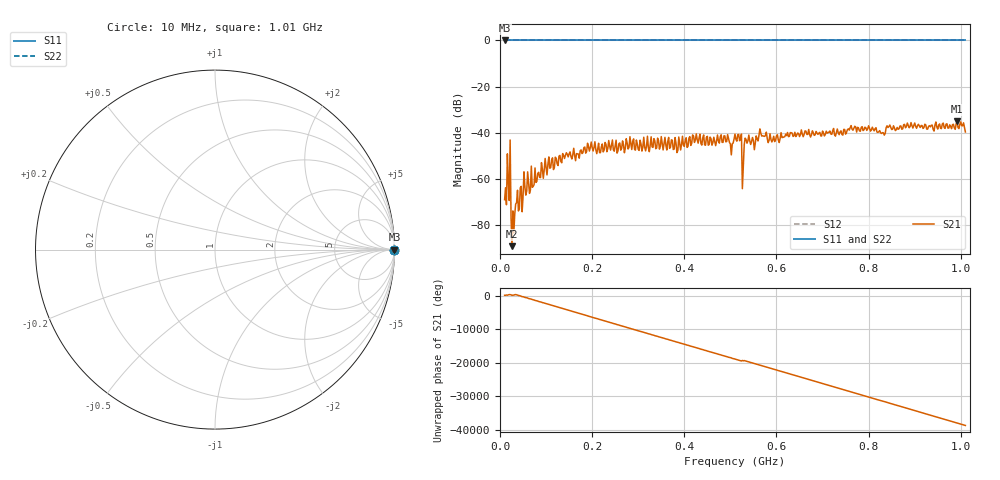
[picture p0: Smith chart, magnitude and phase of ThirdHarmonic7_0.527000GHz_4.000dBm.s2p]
! 8/17/2025 3:37:31 PM
! C:\ANRITSUVNA\TEMP\TEMP.S2P
! CHANNEL.1
! TR.MEASUREMENT
! RAW.DATA
! RF.CORRECTION.OFF
! AVERAGING.OFF
! IF.BANDWIDTH: 5KHZ
! SWEEPTYPE:  FREQ.SWEEP(Linear)
! Reference Plane Port Info
! PORT:  PORT1  PORT2
! DISTANCE:  0  m  0  m
! TIME:  0  s  0  s
! PHASE.OFFSET:  0  deg.  0  deg.
! LOSS:  0  dB  0  dB
! REF.LOSS:  0  dB  0  dB
! REF.FREQ:  0  Hz  0  Hz
! Power Info
! POWER:  -20  dBm  -20  dBm
! EFF.POWER:  -20  dBm  -20  dBm
! SOURCE.ATTEN:  0  dB  0  dB
! TEST.ATTEN:  0  dB  0  dB
# GHZ S RI R 50.0
! FREQ.GHZ  S11RE  S11IM  S21RE  S21IM  S12RE  S12IM  S22RE  S22IM
!; PortSelection: Port_12
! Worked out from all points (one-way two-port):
!   501 points, 10 MHz to 1.01 GHz, reference 50 ohm
!   highest |S21| = -35.04 dB at 992 MHz (marker M1); lowest = -89.1 dB at 26 MHz (marker M2)
!   lowest |S11| = 0.0 dB at 10 MHz (marker M3)
!   |S11| at or under -10 dB: nowhere
!   |S22| runs from 0.0 to 0.0 dB; largest |S21 - S12| = 1
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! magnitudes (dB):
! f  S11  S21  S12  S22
! 10 MHz  0.0  -68.9  0.0  0.0
! 18 MHz  0.0  -61.0  0.0  0.0
! 26 MHz  0.0  -89.1  0.0  0.0
! 28 MHz  0.0  -73.8  0.0  0.0
! 56 MHz  0.0  -67.0  0.0  0.0
! 68 MHz  0.0  -54.4  0.0  0.0
! 110 MHz  0.0  -55.1  0.0  0.0
! 178 MHz  0.0  -49.0  0.0  0.0
! 344 MHz  0.0  -43.3  0.0  0.0
! 490 MHz  0.0  -43.9  0.0  0.0
! 502 MHz  0.0  -49.5  0.0  0.0
! 510 MHz  0.0  -40.5  0.0  0.0
! 520 MHz  0.0  -43.4  0.0  0.0
! 524 MHz  0.0  -40.5  0.0  0.0
! 530 MHz  0.0  -45.2  0.0  0.0
! 536 MHz  0.0  -44.5  0.0  0.0
! 566 MHz  0.0  -40.1  0.0  0.0
! 678 MHz  0.0  -39.1  0.0  0.0
! 832 MHz  0.0  -40.0  0.0  0.0
! 844 MHz  0.0  -37.3  0.0  0.0
! 992 MHz  0.0  -35.0  0.0  0.0
! 1.01 GHz  0.0  -39.6  0.0  0.0
